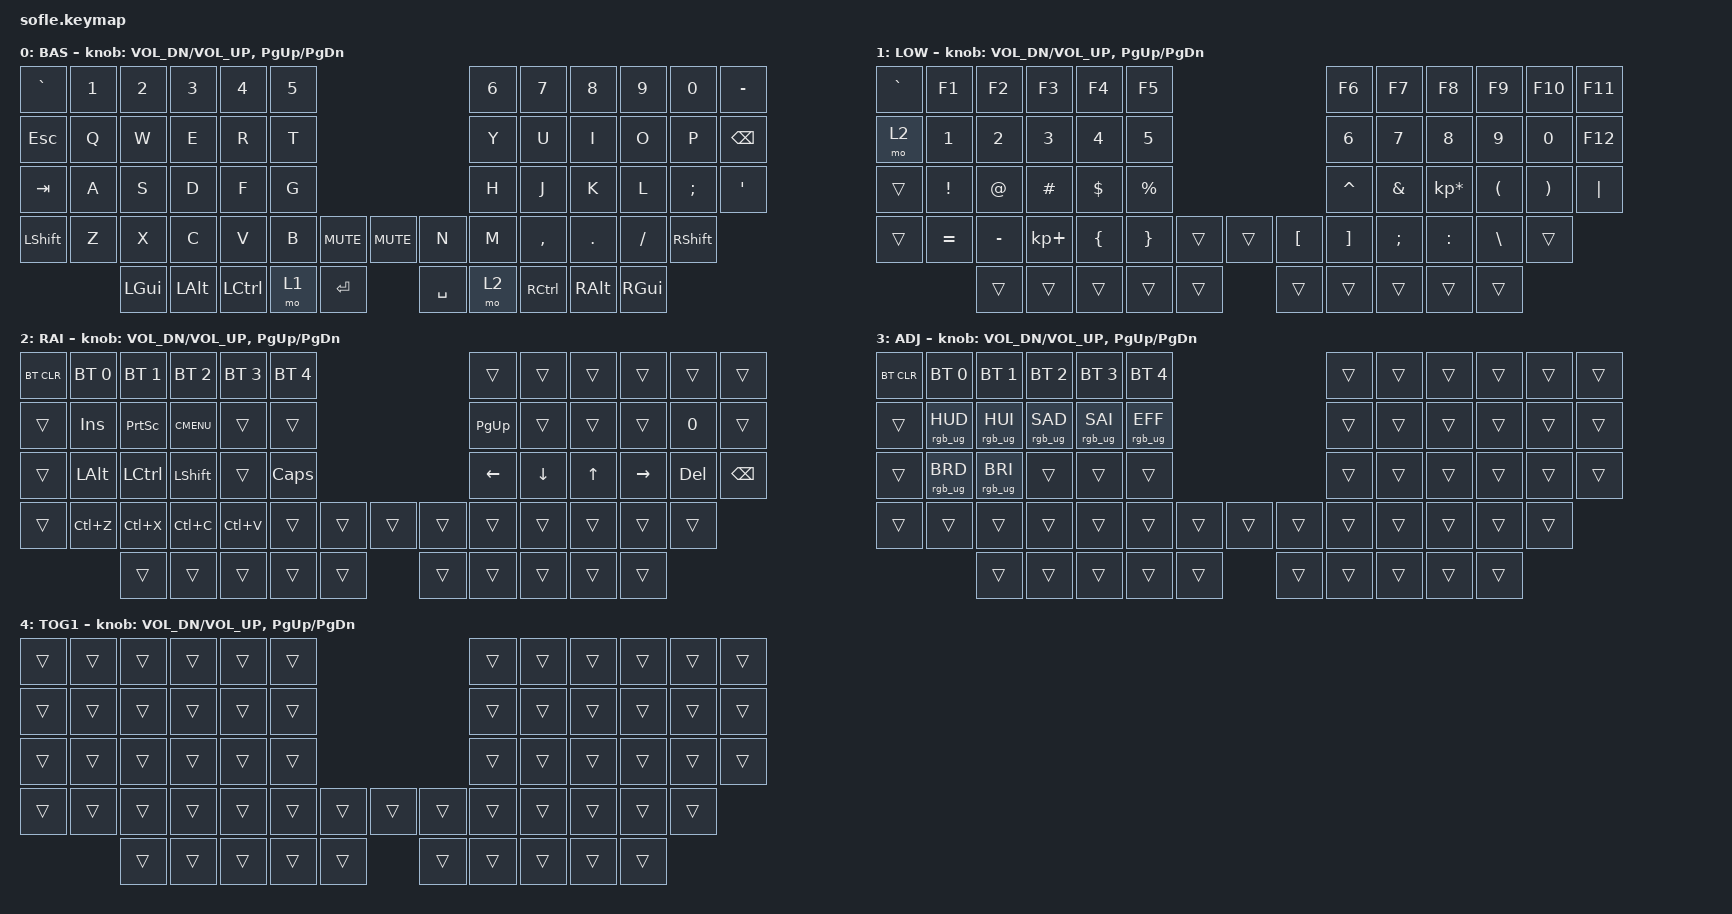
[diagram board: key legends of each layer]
/*
 * Copyright (c) 2020 The ZMK Contributors
 *
 * SPDX-License-Identifier: MIT
 */

#include <behaviors.dtsi>
#include <dt-bindings/zmk/bt.h>
#include <dt-bindings/zmk/ext_power.h>
#include <dt-bindings/zmk/keys.h>
#include <dt-bindings/zmk/rgb.h>


#define BASE   0
#define LOWER  1
#define RAISE  2
#define ADJUST 3
#define TOG1   4

/ {
    // Activate ADJUST layer by pressing raise and lower simultaneously
    conditional_layers {
        compatible = "zmk,conditional-layers";

        adjust_layer {
            if-layers = <LOWER RAISE>;
            then-layer = <ADJUST>;
        };
    };

    keymap {
        compatible = "zmk,keymap";

        default_layer {
            display-name = "BAS";
            // ------------------------------------------------------------------------------------------------------------
            // |  `    |  1  |  2  |  3   |  4   |  5   |                   |  6   |  7    |  8    |  9   |   0   |   -   |
            // |  ESC  |  Q  |  W  |  E   |  R   |  T   |                   |  Y   |  U    |  I    |  O   |   P   | BKSPC |
            // |  TAB  |  A  |  S  |  D   |  F   |  G   |                   |  H   |  J    |  K    |  L   |   ;   |   '   |
            // | SHIFT |  Z  |  X  |  C   |  V   |  B   |  MUTE  |  |       |  N   |  M    |  ,    |  .   |   /   | SHIFT |
            //               | GUI | ALT  | CTRL | LOWER|  ENTER |  | SPACE | RAISE| CTRL  | ALT   | GUI  |

            bindings = <
&kp GRAVE  &kp N1  &kp N2    &kp N3    &kp N4     &kp N5                                   &kp N6  &kp N7     &kp N8     &kp N9    &kp N0    &kp MINUS
&kp ESC    &kp Q   &kp W     &kp E     &kp R      &kp T                                    &kp Y   &kp U      &kp I      &kp O     &kp P     &kp BSPC
&kp TAB    &kp A   &kp S     &kp D     &kp F      &kp G                                    &kp H   &kp J      &kp K      &kp L     &kp SEMI  &kp SQT
&kp LSHFT  &kp Z   &kp X     &kp C     &kp V      &kp B   &kp C_MUTE    &kp C_MUTE  &kp N   &kp M      &kp COMMA  &kp DOT   &kp FSLH  &kp RSHFT
                   &kp LGUI  &kp LALT  &kp LCTRL  &mo 1   &kp RET       &kp SPACE          &mo 2   &kp RCTRL  &kp RALT   &kp RGUI
            >;

            sensor-bindings = <&inc_dec_kp C_VOL_DN C_VOL_UP &inc_dec_kp PAGE_UP PAGE_DOWN>;
        };

        lower_layer {
            display-name = "LOW";
            // ------------------------------------------------------------------------------------------------------------
            // | `     |  F1 |  F2 |  F3  |  F4  |  F5  |                   |  F6  |  F7   |  F8   |  F9  |  F10  |  F11  |
            // | RAISE |   1 |   2 |   3  |   4  |   5  |                   |   6  |   7   |   8   |   9  |    0  |  F12  |
            // |       |  !  |  @  |  #   |  $   |  %   |                   |  ^   |  &    |  *    |  (   |   )   |   |   |
            // |       |  =  |  -  |  +   |  {   |  }   |        |  |       |  [   |  ]    |  ;    |  :   |   \   |       |
            //               |     |      |      |      |        |  |       |      |       |       |      |

            bindings = <
&kp GRAVE  &kp F1     &kp F2     &kp F3       &kp F4    &kp F5                       &kp F6     &kp F7    &kp F8           &kp F9     &kp F10   &kp F11
&mo 2      &kp N1     &kp N2     &kp N3       &kp N4    &kp N5                       &kp N6     &kp N7    &kp N8           &kp N9     &kp N0    &kp F12
&trans     &kp EXCL   &kp AT     &kp HASH     &kp DLLR  &kp PRCNT                    &kp CARET  &kp AMPS  &kp KP_MULTIPLY  &kp LPAR   &kp RPAR  &kp PIPE
&trans     &kp EQUAL  &kp MINUS  &kp KP_PLUS  &kp LBRC  &kp RBRC   &trans    &trans  &kp LBKT   &kp RBKT  &kp SEMI         &kp COLON  &kp BSLH  &trans
                      &trans     &trans       &trans    &trans     &trans    &trans  &trans     &trans    &trans           &trans
            >;

            sensor-bindings = <&inc_dec_kp C_VOL_DN C_VOL_UP &inc_dec_kp PAGE_UP PAGE_DOWN>;
        };

        raise_layer {
            display-name = "RAI";
            // ------------------------------------------------------------------------------------------------------------
            // |BTCLR| BT1  | BT2  |  BT3  |  BT4  |  BT5 |                |      |      |       |      |       |       |
            // |     | INS  | PSCR | GUI   |       |      |                | PGUP |      |       |      |       |       |
            // |     | ALT  | CTRL | SHIFT |       | CAPS |                |  <-  |   v  |   ^   |  ->  |  DEL  | BKSPC |
            // |     | UNDO | CUT  | COPY  | PASTE |      |      |  |      |      |      |       |      |       |       |
            //              |      |       |       |      |      |  |      |      |      |       |      |

            bindings = <
&bt BT_CLR  &bt BT_SEL 0  &bt BT_SEL 1  &bt BT_SEL 2  &bt BT_SEL 3  &bt BT_SEL 4                    &trans     &trans    &trans  &trans     &trans   &trans
&trans      &kp INS       &kp PSCRN     &kp K_CMENU   &trans        &trans                          &kp PG_UP  &trans    &trans  &trans     &kp N0   &trans
&trans      &kp LALT      &kp LCTRL     &kp LSHFT     &trans        &kp CLCK                        &kp LEFT   &kp DOWN  &kp UP  &kp RIGHT  &kp DEL  &kp BSPC
&trans      &kp LC(Z)    &kp LC(X)     &kp LC(C)    &kp LC(V)   &trans        &trans    &trans  &trans     &trans    &trans  &trans     &trans   &trans
                          &trans        &trans        &trans        &trans        &trans    &trans  &trans     &trans    &trans  &trans
            >;

            sensor-bindings = <&inc_dec_kp C_VOL_DN C_VOL_UP &inc_dec_kp PAGE_UP PAGE_DOWN>;
        };

        adjust_layer {
            display-name = "ADJ";
            // ----------------------------------------------------------------------------------------------------------------------------
            // | BTCLR  |  BT1    |  BT2    |   BT3   |   BT4   |   BT5   |                  |      |      |       |      |       |       |
            // | EXTPWR | RGB_HUD | RGB_HUI | RGB_SAD | RGB_SAI | RGB_EFF |                  |      |      |       |      |       |       |
            // |        | RGB_BRD | RGB_BRI |         |         |         |                  |      |      |       |      |       |       |
            // |        |         |         |         |         |         | RGB_TOG | |      |      |      |       |      |       |       |
            //                    |         |         |         |         |         | |      |      |      |       |      |
            
            bindings = <
&bt BT_CLR  &bt BT_SEL 0  &bt BT_SEL 1  &bt BT_SEL 2  &bt BT_SEL 3  &bt BT_SEL 4                               &trans  &trans  &trans  &trans  &trans  &trans
&trans  &rgb_ug RGB_HUD  &rgb_ug RGB_HUI  &rgb_ug RGB_SAD  &rgb_ug RGB_SAI  &rgb_ug RGB_EFF                    &trans  &trans  &trans  &trans  &trans  &trans
&trans             &rgb_ug RGB_BRD  &rgb_ug RGB_BRI  &trans           &trans           &trans                  &trans  &trans  &trans  &trans  &trans  &trans
&trans             &trans           &trans           &trans           &trans           &trans           &trans           &trans                  &trans  &trans  &trans  &trans  &trans  &trans
    &trans  &trans  &trans  &trans  &trans           &trans  &trans  &trans  &trans  &trans
            >;

            sensor-bindings = <&inc_dec_kp C_VOL_DN C_VOL_UP &inc_dec_kp PAGE_UP PAGE_DOWN>;
        };
tog_1 {
            display-name = "TOG1";
            // ------------------------------------------------------------------------------------------------------------
            // |BTCLR| BT1  | BT2  |  BT3  |  BT4  |  BT5 |                |      |      |       |      |       |       |
            // |     | INS  | PSCR | GUI   |       |      |                | PGUP |      |       |      |       |       |
            // |     | ALT  | CTRL | SHIFT |       | CAPS |                |  <-  |   v  |   ^   |  ->  |  DEL  | BKSPC |
            // |     | UNDO | CUT  | COPY  | PASTE |      |      |  |      |      |      |       |      |       |       |
            //              |      |       |       |      |      |  |      |      |      |       |      |

            bindings = <
&trans      &trans       &trans     &trans     &trans        &trans                       &trans     &trans    &trans  &trans     &trans   &trans
&trans      &trans       &trans     &trans     &trans        &trans                       &trans     &trans    &trans  &trans     &trans   &trans
&trans      &trans       &trans     &trans     &trans        &trans                       &trans     &trans    &trans  &trans     &trans   &trans
&trans      &trans       &trans     &trans     &trans        &trans        &trans    &trans  &trans     &trans    &trans  &trans     &trans   &trans
                    &trans        &trans        &trans        &trans        &trans     &trans     &trans     &trans    &trans     &trans
            >;

            sensor-bindings = <&inc_dec_kp C_VOL_DN C_VOL_UP &inc_dec_kp PAGE_UP PAGE_DOWN>;
        };
    };
};
